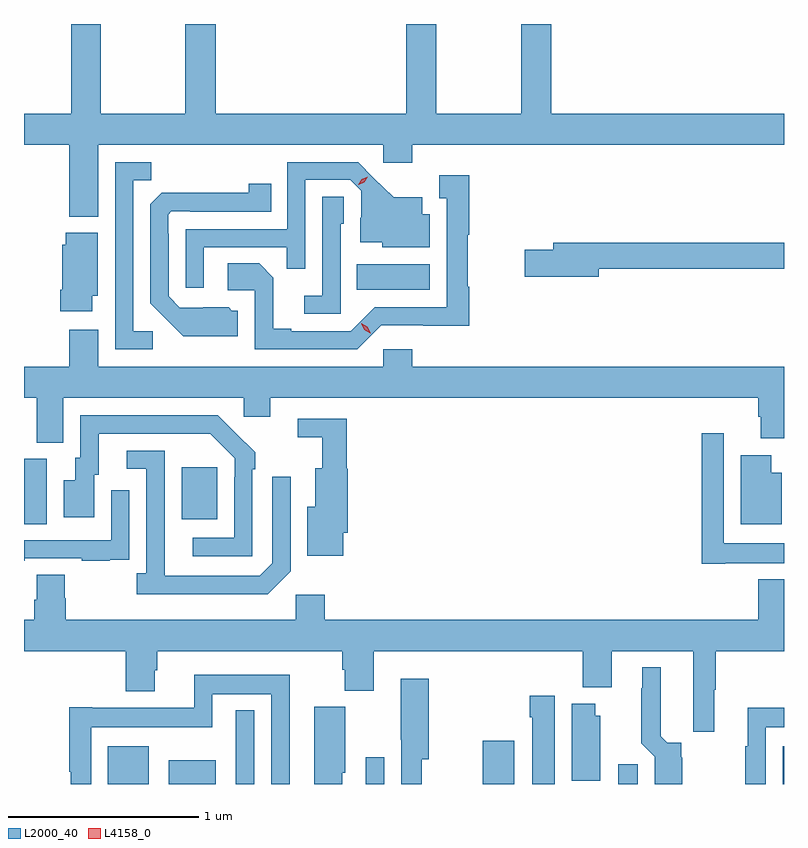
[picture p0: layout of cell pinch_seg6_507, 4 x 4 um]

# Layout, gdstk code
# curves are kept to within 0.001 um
import gdstk
lib = gdstk.Library(unit=1e-6, precision=1e-09)
def R(c, l, rs):  # rectangles x0, y0, x1, y1
    for r in rs: c.add(gdstk.rectangle(r[:2], r[2:], *l))
def P(c, l, *ps):  # polygons
    for p in ps: c.add(gdstk.Polygon(p, *l))
L2000_40 = (2000, 40)
L4158_0 = (4158, 0)

pinch_seg6_507 = lib.new_cell('pinch_seg6_507')
R(pinch_seg6_507, L2000_40, [(770.09,931.984,770.305,932.182), (770.409,931.984,770.656,932.11), (770.763,931.984,770.859,932.371), (771.447,931.984,771.543,932.125), (772.063,931.984,772.228,932.212), (772.775,931.984,772.879,932.089), (773.642,931.984,773.648,932.182), (769.648,933.352,769.768,933.696), (770.477,933.377,770.665,933.652), (771.4,934.586,771.784,934.72)])
P(pinch_seg6_507, L2000_40, [(770.038,935.348),(771.54,935.348),(771.54,935.253),(771.692,935.253),(771.692,935.348),(773.648,935.348),(773.648,935.512),(772.424,935.512),(772.424,935.984),(772.264,935.984),(772.264,935.512),(771.819,935.512),(771.819,935.984),(771.659,935.984),(771.659,935.512),(770.657,935.512),(770.657,935.984),(770.497,935.984),(770.497,935.512),(770.052,935.512),(770.052,935.984),(769.897,935.984),(769.897,935.512),(769.648,935.512),(769.648,935.348),(769.886,935.348),(769.886,934.97),(770.038,934.97)],
  [(770.326,934.368),(770.223,934.368),(770.223,935.161),(770.319,935.161),(770.319,935.256),(770.127,935.256),(770.127,934.272),(770.326,934.272)],
  [(770.595,934.809),(771.031,934.809),(771.031,934.696),(771.129,934.696),(771.129,935.163),(771.366,935.163),(771.423,935.106),(771.423,934.964),(771.419,934.964),(771.419,934.835),(771.534,934.835),(771.534,934.808),(771.784,934.808),(771.784,934.984),(771.745,934.984),(771.745,935.071),(771.593,935.071),(771.406,935.256),(771.033,935.256),(771.033,934.905),(770.499,934.905),(770.499,934.596),(770.595,934.596)],
  [(771.528,934.398),(771.991,934.397),(771.991,934.601),(771.983,934.601),(771.983,934.875),(771.991,934.875),(771.991,935.188),(771.833,935.188),(771.833,935.067),(771.872,935.067),(771.872,934.494),(771.495,934.494),(771.369,934.368),(771.055,934.368),(771.055,934.381),(770.961,934.381),(770.961,934.648),(770.885,934.724),(770.721,934.724),(770.721,934.584),(770.862,934.584),(770.862,934.272),(771.402,934.272)],
  [(770.773,934.476),(770.742,934.476),(770.726,934.492),(770.469,934.491),(770.409,934.551),(770.409,934.88),(770.406,934.88),(770.406,934.98),(770.424,934.998),(770.524,934.998),(770.524,934.995),(770.948,934.995),(770.948,935.143),(770.83,935.143),(770.83,935.096),(770.372,935.095),(770.313,935.036),(770.313,934.514),(770.485,934.34),(770.773,934.34)],
  [(771.315,934.932),(771.33,934.932),(771.33,935.075),(771.219,935.075),(771.219,934.555),(771.123,934.555),(771.123,934.458),(771.315,934.458)],
  [(770.008,934.554),(770.035,934.554),(770.035,934.885),(769.868,934.885),(769.868,934.821),(769.85,934.821),(769.85,934.585),(769.838,934.585),(769.838,934.473),(770.008,934.473)],
  [(772.672,934.696),(773.648,934.696),(773.648,934.832),(772.433,934.832),(772.433,934.796),(772.284,934.796),(772.284,934.654),(772.672,934.654)],
  [(769.855,934.016),(770.805,934.016),(770.805,933.918),(770.944,933.918),(770.944,934.016),(773.513,934.016),(773.513,933.918),(773.525,933.918),(773.525,933.804),(773.648,933.804),(773.648,934.18),(771.692,934.18),(771.692,934.273),(771.54,934.273),(771.54,934.18),(770.038,934.18),(770.038,934.375),(769.886,934.375),(769.886,934.18),(769.648,934.18),(769.648,934.016),(769.715,934.016),(769.715,933.781),(769.855,933.781)],
  [(770.85,933.641),(770.865,933.641),(770.865,933.729),(770.668,933.924),(769.944,933.924),(769.944,933.702),(769.919,933.702),(769.919,933.583),(769.856,933.583),(769.856,933.387),(770.017,933.387),(770.017,933.612),(770.041,933.612),(770.041,933.828),(770.629,933.828),(770.757,933.699),(770.757,933.599),(770.754,933.599),(770.754,933.279),(770.535,933.279),(770.535,933.183),(770.85,933.183)],
  [(771.328,933.306),(771.353,933.306),(771.353,933.642),(771.347,933.642),(771.347,933.906),(771.09,933.906),(771.09,933.809),(771.219,933.809),(771.219,933.646),(771.182,933.646),(771.182,933.442),(771.14,933.442),(771.14,933.185),(771.328,933.185)],
  [(773.338,933.146),(773.648,933.146),(773.648,933.25),(773.331,933.25),(773.331,933.829),(773.215,933.829),(773.215,933.144),(773.338,933.144)],
  [(771.051,933.105),(771.051,933.601),(770.955,933.601),(770.955,933.147),(770.889,933.081),(770.389,933.081),(770.388,933.738),(770.19,933.738),(770.19,933.642),(770.292,933.642),(770.292,933.094),(770.241,933.094),(770.241,932.984),(770.93,932.984)],
  [(773.635,933.622),(773.581,933.622),(773.581,933.715),(773.42,933.715),(773.42,933.35),(773.635,933.35)],
  [(769.651,933.171),(769.951,933.171),(769.951,933.159),(770.099,933.159),(770.099,933.165),(770.201,933.165),(770.201,933.274),(770.202,933.274),(770.202,933.529),(770.106,933.529),(770.106,933.267),(769.648,933.267),(769.648,933.159),(769.651,933.159)],
  [(771.23,932.98),(771.078,932.98),(771.078,932.848),(769.868,932.848),(769.868,932.961),(769.863,932.961),(769.863,933.086),(769.715,933.086),(769.715,932.954),(769.703,932.954),(769.703,932.848),(769.648,932.848),(769.648,932.684),(770.183,932.684),(770.183,932.471),(770.335,932.471),(770.335,932.583),(770.348,932.583),(770.348,932.684),(771.323,932.684),(771.323,932.585),(771.335,932.585),(771.335,932.476),(771.488,932.476),(771.488,932.684),(772.589,932.684),(772.589,932.492),(772.741,932.492),(772.741,932.684),(773.171,932.684),(773.171,932.259),(773.281,932.259),(773.281,932.48),(773.289,932.48),(773.289,932.684),(773.648,932.684),(773.648,933.061),(773.513,933.061),(773.513,932.848),(771.23,932.848)],
  [(773.112,932.122),(773.106,932.128),(773.106,932.2),(773.034,932.2),(772.999,932.236),(772.999,932.599),(772.901,932.599),(772.901,932.489),(772.897,932.489),(772.897,932.198),(772.967,932.128),(772.967,931.984),(773.112,931.984)],
  [(770.001,932.282),(770.64,932.282),(770.64,932.456),(770.949,932.456),(770.949,931.984),(771.046,931.984),(771.046,932.56),(770.543,932.56),(770.543,932.386),(770.008,932.386),(770.008,932.389),(769.885,932.389),(769.885,932.049),(769.893,932.049),(769.893,931.984),(770.001,931.984)],
  [(771.742,932.114),(771.779,932.114),(771.779,932.539),(771.632,932.539),(771.632,932.218),(771.633,932.218),(771.633,931.984),(771.742,931.984)],
  [(772.441,932.449),(772.31,932.449),(772.31,932.336),(772.322,932.336),(772.322,931.984),(772.441,931.984)],
  [(772.681,932.343),(772.654,932.343),(772.654,932.407),(772.532,932.407),(772.532,932.002),(772.681,932.002)],
  [(771.322,932.043),(771.34,932.043),(771.34,932.391),(771.176,932.391),(771.176,931.984),(771.322,931.984)],
  [(773.553,932.282),(773.648,932.282),(773.648,932.386),(773.456,932.386),(773.456,932.182),(773.445,932.182),(773.445,931.984),(773.553,931.984)])
P(pinch_seg6_507, L4158_0, [(771.471,934.356),(771.44,934.376),(771.424,934.409),(771.424,934.41),(771.424,934.41),(771.455,934.39),(771.472,934.356),(771.472,934.356)],
  [(771.408,935.137),(771.408,935.138),(771.426,935.167),(771.457,935.181),(771.457,935.181),(771.457,935.181),(771.439,935.152),(771.409,935.137)])

lib.write_gds('pinch_seg6_507.gds')
